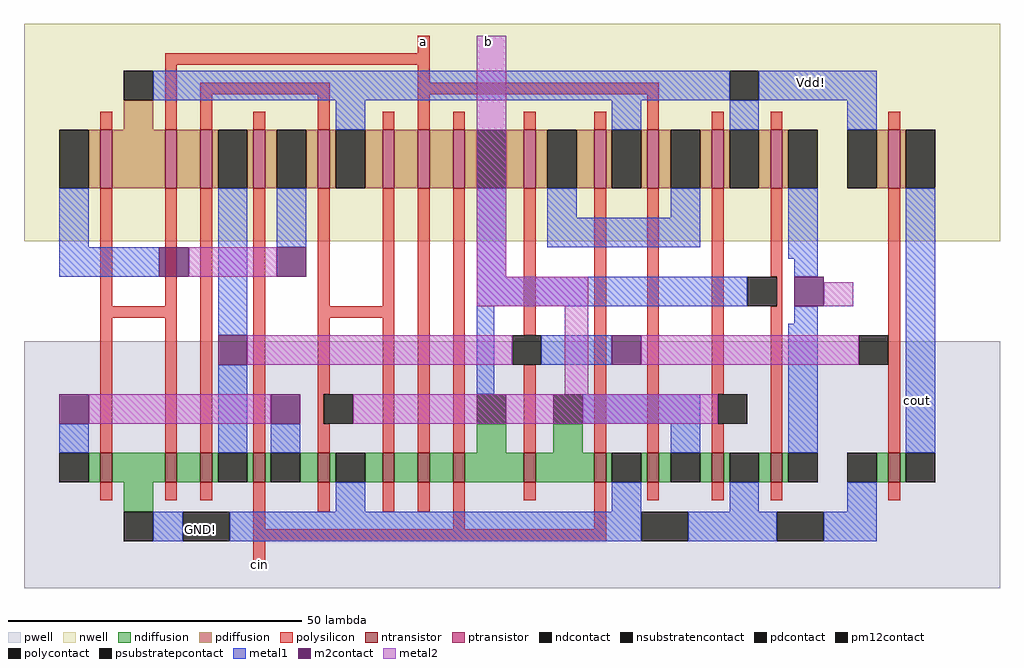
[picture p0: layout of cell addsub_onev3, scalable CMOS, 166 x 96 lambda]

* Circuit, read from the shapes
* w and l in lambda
.subckt addsub_onev3 GND! Vdd! a b cin cout
M1 GND! a n1 GND! nfet w=5 l=2
M2 n2 a GND! GND! nfet w=5 l=2
M3 n3 b n2 GND! nfet w=5 l=2
M4 n1 cin n3 GND! nfet w=5 l=2
M5 GND! b n1 GND! nfet w=5 l=2
M6 n4 b GND! GND! nfet w=5 l=2
M7 n5 a n4 GND! nfet w=5 l=2
M8 n6 cin n5 GND! nfet w=5 l=2
M9 n7 n3 n6 GND! nfet w=5 l=2
M10 GND! cin n7 GND! nfet w=5 l=2
M11 n7 a GND! GND! nfet w=5 l=2
M12 GND! b n7 GND! nfet w=5 l=2
M13 n8 n6 GND! GND! nfet w=5 l=2
M14 cout n3 GND! GND! nfet w=5 l=2
M15 Vdd! a n9 Vdd! pfet w=10 l=2
M16 n10 a Vdd! Vdd! pfet w=10 l=2
M17 n3 b n10 Vdd! pfet w=10 l=2
M18 n9 cin n3 Vdd! pfet w=10 l=2
M19 Vdd! b n9 Vdd! pfet w=10 l=2
M20 n11 b Vdd! Vdd! pfet w=10 l=2
M21 n12 a n11 Vdd! pfet w=10 l=2
M22 n6 cin n12 Vdd! pfet w=10 l=2
M23 n13 n3 n6 Vdd! pfet w=10 l=2
M24 Vdd! cin n13 Vdd! pfet w=10 l=2
M25 n13 a Vdd! Vdd! pfet w=10 l=2
M26 Vdd! b n13 Vdd! pfet w=10 l=2
M27 n8 n6 Vdd! Vdd! pfet w=10 l=2
M28 cout n3 Vdd! Vdd! pfet w=10 l=2
.ends

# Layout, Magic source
magic
tech scmos
<< nwell >>
rect 3 0 169 37
<< pwell >>
rect 3 -59 169 -17
<< ntransistor >>
rect 16 -41 18 -36
rect 27 -41 29 -36
rect 33 -41 35 -36
rect 42 -41 44 -36
rect 53 -41 55 -36
rect 64 -41 66 -36
rect 70 -41 72 -36
rect 76 -41 78 -36
rect 88 -41 90 -36
rect 100 -41 102 -36
rect 109 -41 111 -36
rect 120 -41 122 -36
rect 130 -41 132 -36
rect 150 -41 152 -36
<< ptransistor >>
rect 16 9 18 19
rect 27 9 29 19
rect 33 9 35 19
rect 42 9 44 19
rect 53 9 55 19
rect 64 9 66 19
rect 70 9 72 19
rect 76 9 78 19
rect 88 9 90 19
rect 100 9 102 19
rect 109 9 111 19
rect 120 9 122 19
rect 130 9 132 19
rect 150 9 152 19
<< ndiffusion >>
rect 80 -36 85 -31
rect 93 -36 98 -31
rect 14 -41 16 -36
rect 18 -41 27 -36
rect 29 -41 33 -36
rect 35 -41 36 -36
rect 41 -41 42 -36
rect 44 -41 45 -36
rect 50 -41 53 -36
rect 55 -41 56 -36
rect 61 -41 64 -36
rect 66 -41 70 -36
rect 72 -41 76 -36
rect 78 -41 88 -36
rect 90 -41 100 -36
rect 102 -41 103 -36
rect 108 -41 109 -36
rect 111 -41 113 -36
rect 118 -41 120 -36
rect 122 -41 123 -36
rect 128 -41 130 -36
rect 132 -41 133 -36
rect 148 -41 150 -36
rect 152 -41 153 -36
rect 20 -46 25 -41
<< pdiffusion >>
rect 20 19 25 24
rect 14 9 16 19
rect 18 9 27 19
rect 29 9 33 19
rect 35 9 36 19
rect 41 9 42 19
rect 44 9 46 19
rect 51 9 53 19
rect 55 9 56 19
rect 61 9 64 19
rect 66 9 70 19
rect 72 9 76 19
rect 78 9 80 19
rect 85 9 88 19
rect 90 9 92 19
rect 97 9 100 19
rect 102 9 103 19
rect 108 9 109 19
rect 111 9 113 19
rect 118 9 120 19
rect 122 9 123 19
rect 128 9 130 19
rect 132 9 133 19
rect 148 9 150 19
rect 152 9 153 19
<< ndcontact >>
rect 80 -31 85 -26
rect 93 -31 98 -26
rect 9 -41 14 -36
rect 36 -41 41 -36
rect 45 -41 50 -36
rect 56 -41 61 -36
rect 103 -41 108 -36
rect 113 -41 118 -36
rect 123 -41 128 -36
rect 133 -41 138 -36
rect 143 -41 148 -36
rect 153 -41 158 -36
rect 20 -51 25 -46
<< pdcontact >>
rect 20 24 25 29
rect 9 9 14 19
rect 36 9 41 19
rect 46 9 51 19
rect 56 9 61 19
rect 80 9 85 19
rect 92 9 97 19
rect 103 9 108 19
rect 113 9 118 19
rect 123 9 128 19
rect 133 9 138 19
rect 143 9 148 19
rect 153 9 158 19
<< psubstratepcontact >>
rect 30 -51 38 -46
rect 108 -51 116 -46
rect 131 -51 139 -46
<< nsubstratencontact >>
rect 123 24 128 29
<< polysilicon >>
rect 70 32 72 35
rect 27 30 72 32
rect 16 19 18 22
rect 27 19 29 30
rect 70 27 72 30
rect 33 25 55 27
rect 33 19 35 25
rect 42 19 44 22
rect 53 19 55 25
rect 70 25 111 27
rect 64 19 66 22
rect 70 19 72 25
rect 76 19 78 22
rect 88 19 90 22
rect 100 19 102 22
rect 109 19 111 25
rect 120 19 122 22
rect 130 19 132 22
rect 150 19 152 22
rect 16 -11 18 9
rect 27 -11 29 9
rect 16 -13 29 -11
rect 16 -36 18 -13
rect 27 -36 29 -13
rect 33 -36 35 9
rect 42 -36 44 9
rect 53 -11 55 9
rect 64 -11 66 9
rect 53 -13 66 -11
rect 53 -26 55 -13
rect 53 -31 54 -26
rect 53 -36 55 -31
rect 64 -36 66 -13
rect 70 -36 72 9
rect 76 -36 78 9
rect 88 -16 90 9
rect 88 -36 90 -21
rect 100 -36 102 9
rect 109 -36 111 9
rect 120 -26 122 9
rect 130 -6 132 9
rect 131 -11 132 -6
rect 120 -31 121 -26
rect 120 -36 122 -31
rect 130 -36 132 -11
rect 150 -36 152 9
rect 16 -44 18 -41
rect 27 -44 29 -41
rect 33 -44 35 -41
rect 42 -49 44 -41
rect 53 -46 55 -41
rect 64 -46 66 -41
rect 70 -46 72 -41
rect 76 -49 78 -41
rect 88 -44 90 -41
rect 100 -49 102 -41
rect 109 -44 111 -41
rect 120 -44 122 -41
rect 130 -44 132 -41
rect 150 -44 152 -41
rect 42 -51 102 -49
rect 42 -55 44 -51
<< polycontact >>
rect 126 -11 131 -6
<< metal1 >>
rect 25 24 123 29
rect 128 24 148 29
rect 56 19 61 24
rect 103 19 108 24
rect 123 19 128 24
rect 143 19 148 24
rect 9 -1 14 9
rect 9 -6 26 -1
rect 36 -16 41 9
rect 46 -1 51 9
rect 80 -6 85 9
rect 92 4 97 9
rect 113 4 118 9
rect 92 -1 118 4
rect 133 -3 138 9
rect 134 -6 138 -3
rect 9 -36 14 -31
rect 36 -36 41 -21
rect 80 -11 126 -6
rect 80 -26 83 -11
rect 134 -14 138 -11
rect 91 -21 103 -16
rect 98 -31 118 -26
rect 45 -36 50 -31
rect 113 -36 118 -31
rect 133 -36 138 -14
rect 153 -36 158 9
rect 56 -46 61 -41
rect 103 -46 108 -41
rect 123 -46 128 -41
rect 143 -46 148 -41
rect 25 -51 30 -46
rect 38 -51 108 -46
rect 116 -51 131 -46
rect 139 -51 148 -46
<< m2contact >>
rect 26 -6 31 -1
rect 46 -6 51 -1
rect 36 -21 41 -16
rect 9 -31 14 -26
rect 134 -11 139 -6
rect 103 -21 108 -16
rect 45 -31 50 -26
<< pm12contact >>
rect 86 -21 91 -16
rect 54 -31 59 -26
rect 121 -31 126 -26
rect 145 -21 150 -16
<< metal2 >>
rect 31 -6 46 -1
rect 80 -6 85 35
rect 80 -11 99 -6
rect 139 -11 144 -7
rect 41 -21 86 -16
rect 95 -26 99 -11
rect 108 -21 145 -16
rect 14 -31 45 -26
rect 59 -31 121 -26
<< labels >>
rlabel polysilicon 71 34 71 34 5 a
rlabel psubstratepcontact 33 -49 33 -49 1 GND!
rlabel polysilicon 42 -55 44 -55 1 cin
rlabel metal2 82 34 82 34 5 b
rlabel metal1 137 27 137 27 1 Vdd!
rlabel metal1 155 -27 155 -27 1 cout
<< end >>
